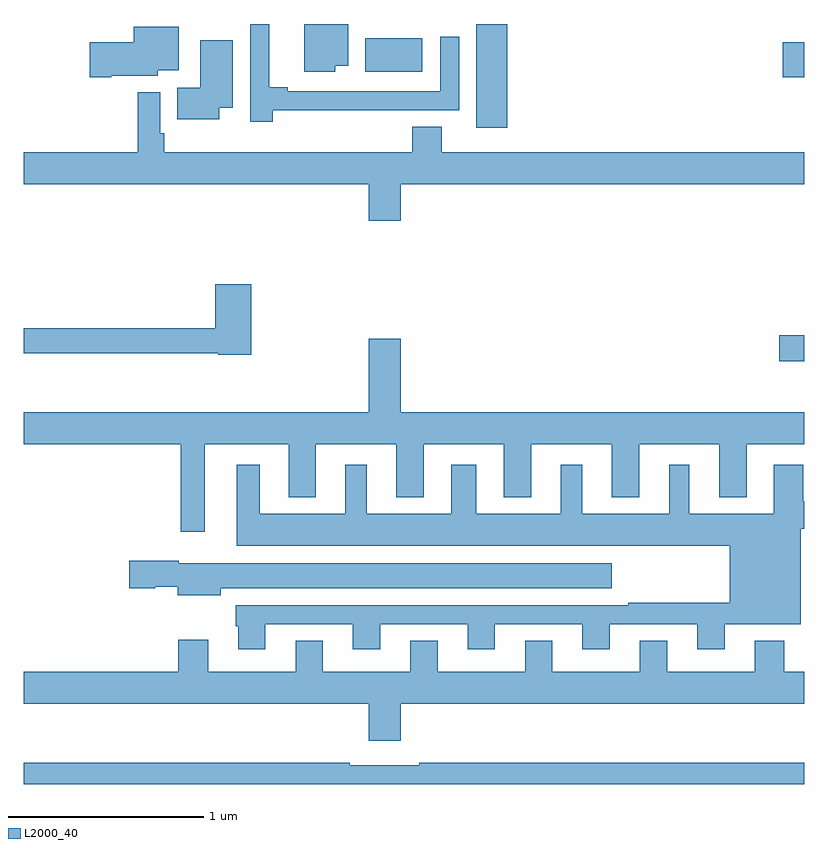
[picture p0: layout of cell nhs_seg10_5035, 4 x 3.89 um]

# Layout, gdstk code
import gdstk
lib = gdstk.Library(unit=1e-6, precision=1e-09)
def R(c, l, rs):  # rectangles x0, y0, x1, y1
    for r in rs: c.add(gdstk.rectangle(r[:2], r[2:], *l))
def P(c, l, *ps):  # polygons
    for p in ps: c.add(gdstk.Polygon(p, *l))
L2000_40 = (2000, 40)

nhs_seg10_5035 = lib.new_cell('nhs_seg10_5035')
R(nhs_seg10_5035, L2000_40, [(406.872,1268.771,407,1268.906), (405.32,1269.969,405.479,1270.5), (406.89,1270.228,407,1270.406), (404.75,1270.256,405.043,1270.426)])
P(nhs_seg10_5035, L2000_40, [(404.596,1270.286),(404.662,1270.286),(404.662,1270.5),(404.438,1270.5),(404.438,1270.256),(404.596,1270.256)],
  [(404.276,1270.058),(404.906,1270.058),(404.906,1270.059),(405.231,1270.059),(405.231,1270.435),(405.135,1270.435),(405.135,1270.155),(404.353,1270.155),(404.353,1270.175),(404.258,1270.175),(404.258,1270.5),(404.16,1270.5),(404.16,1269.999),(404.276,1269.999)],
  [(403.45,1270.235),(403.686,1270.235),(403.686,1270.262),(403.795,1270.262),(403.795,1270.486),(403.565,1270.486),(403.565,1270.406),(403.338,1270.406),(403.338,1270.228),(403.45,1270.228)],
  [(404.002,1270.07),(404.071,1270.07),(404.071,1270.418),(403.904,1270.418),(403.904,1270.174),(403.786,1270.174),(403.786,1270.013),(404.002,1270.013)],
  [(404.932,1269.68),(407,1269.68),(407,1269.844),(405.142,1269.844),(405.142,1269.974),(404.99,1269.974),(404.99,1269.844),(403.721,1269.844),(403.721,1269.94),(403.701,1269.94),(403.701,1270.15),(403.585,1270.15),(403.585,1269.844),(403,1269.844),(403,1269.68),(404.768,1269.68),(404.768,1269.492),(404.932,1269.492)],
  [(404.165,1269.166),(403.982,1269.166),(403.982,1268.942),(403,1268.942),(403,1268.814),(403.998,1268.814),(403.998,1268.806),(404.165,1268.806)],
  [(403.927,1268.348),(404.357,1268.348),(404.357,1268.075),(404.497,1268.075),(404.497,1268.348),(404.909,1268.348),(404.909,1268.075),(405.049,1268.075),(405.049,1268.348),(405.461,1268.348),(405.461,1268.075),(405.601,1268.075),(405.601,1268.348),(406.013,1268.348),(406.013,1268.075),(406.153,1268.075),(406.153,1268.348),(406.565,1268.348),(406.565,1268.075),(406.705,1268.075),(406.705,1268.348),(407,1268.348),(407,1268.512),(404.932,1268.512),(404.932,1268.887),(404.768,1268.887),(404.768,1268.512),(403,1268.512),(403,1268.348),(403.806,1268.348),(403.806,1267.899),(403.927,1267.899)],
  [(404.239,1267.425),(404.687,1267.425),(404.687,1267.296),(404.827,1267.296),(404.827,1267.425),(405.275,1267.425),(405.275,1267.296),(405.415,1267.296),(405.415,1267.425),(405.863,1267.425),(405.863,1267.296),(406.003,1267.296),(406.003,1267.425),(406.451,1267.425),(406.451,1267.296),(406.591,1267.296),(406.591,1267.424),(406.981,1267.424),(406.981,1267.913),(407,1267.913),(407,1268.055),(406.994,1268.055),(406.994,1268.242),(406.844,1268.242),(406.844,1267.99),(406.411,1267.99),(406.411,1268.242),(406.307,1268.242),(406.307,1267.99),(405.862,1267.99),(405.862,1268.242),(405.752,1268.242),(405.752,1267.99),(405.319,1267.99),(405.319,1268.242),(405.191,1268.242),(405.191,1267.99),(404.758,1267.99),(404.758,1268.242),(404.648,1268.242),(404.648,1267.99),(404.209,1267.99),(404.209,1268.242),(404.093,1268.242),(404.093,1267.826),(406.619,1267.826),(406.619,1267.534),(406.099,1267.534),(406.099,1267.521),(404.087,1267.521),(404.087,1267.413),(404.099,1267.413),(404.099,1267.296),(404.239,1267.296)],
  [(404.011,1267.61),(406.012,1267.61),(406.012,1267.738),(403.794,1267.738),(403.794,1267.751),(403.542,1267.751),(403.542,1267.609),(403.674,1267.609),(403.674,1267.616),(403.79,1267.616),(403.79,1267.574),(404.011,1267.574)],
  [(404.932,1267.016),(407,1267.016),(407,1267.18),(406.898,1267.18),(406.898,1267.339),(406.745,1267.339),(406.745,1267.18),(406.297,1267.18),(406.297,1267.34),(406.157,1267.34),(406.157,1267.18),(405.709,1267.18),(405.709,1267.34),(405.569,1267.34),(405.569,1267.18),(405.121,1267.18),(405.121,1267.34),(404.981,1267.34),(404.981,1267.18),(404.533,1267.18),(404.533,1267.34),(404.393,1267.34),(404.393,1267.18),(403.945,1267.18),(403.945,1267.345),(403.793,1267.345),(403.793,1267.18),(403,1267.18),(403,1267.016),(404.768,1267.016),(404.768,1266.828),(404.932,1266.828)],
  [(407,1266.715),(405.028,1266.715),(405.028,1266.702),(404.672,1266.702),(404.672,1266.715),(403,1266.715),(403,1266.606),(407,1266.606)])

lib.write_gds('nhs_seg10_5035.gds')
